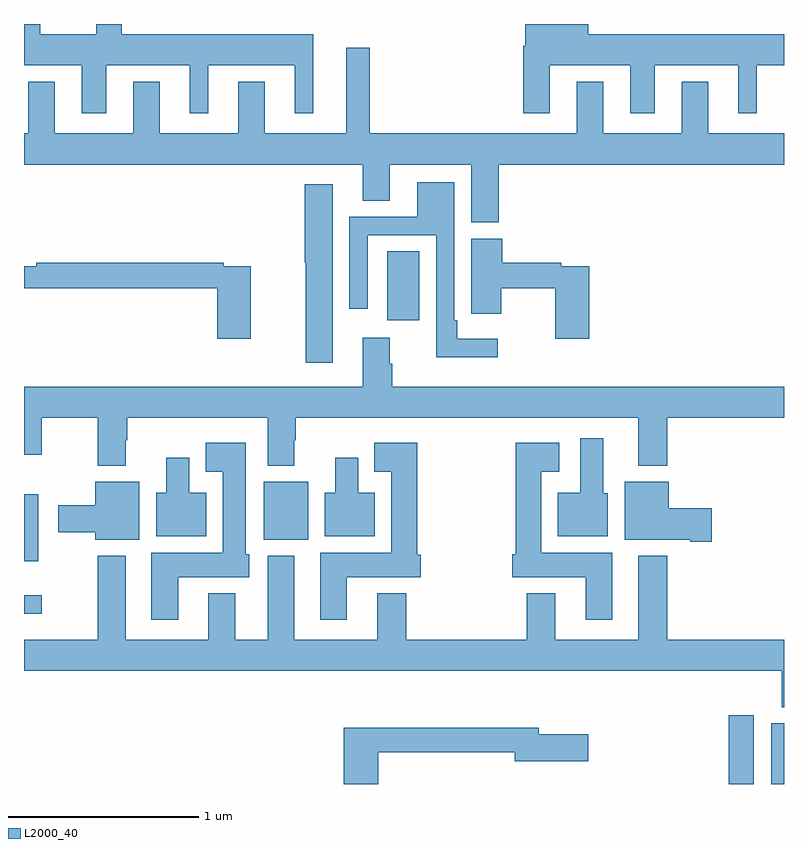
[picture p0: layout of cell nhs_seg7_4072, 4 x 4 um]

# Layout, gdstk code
import gdstk
lib = gdstk.Library(unit=1e-6, precision=1e-09)
def R(c, l, rs):  # rectangles x0, y0, x1, y1
    for r in rs: c.add(gdstk.rectangle(r[:2], r[2:], *l))
def P(c, l, *ps):  # polygons
    for p in ps: c.add(gdstk.Polygon(p, *l))
L2000_40 = (2000, 40)

nhs_seg7_4072 = lib.new_cell('nhs_seg7_4072')
R(nhs_seg7_4072, L2000_40, [(372.71,1020,372.841,1020.361), (372.932,1020,373,1020.319), (369,1020.896,369.094,1020.993), (369,1021.172,369.076,1021.525), (370.262,1021.286,370.495,1021.591), (370.913,1022.442,371.08,1022.804)])
P(nhs_seg7_4072, L2000_40, [(371.767,1023.782),(372.191,1023.782),(372.191,1023.531),(372.319,1023.531),(372.319,1023.782),(372.758,1023.782),(372.758,1023.531),(372.856,1023.531),(372.856,1023.782),(373,1023.782),(373,1023.946),(371.971,1023.946),(371.971,1024),(371.639,1024),(371.639,1023.886),(371.627,1023.886),(371.627,1023.531),(371.767,1023.531)],
  [(369.433,1023.782),(369.872,1023.782),(369.872,1023.531),(369.97,1023.531),(369.97,1023.782),(370.424,1023.782),(370.424,1023.531),(370.522,1023.531),(370.522,1023.946),(369.515,1023.946),(369.515,1024),(369.38,1024),(369.38,1023.946),(369.085,1023.946),(369.085,1024),(369,1024),(369,1023.782),(369.305,1023.782),(369.305,1023.531),(369.433,1023.531)],
  [(371.498,1023.26),(373,1023.26),(373,1023.424),(372.601,1023.424),(372.601,1023.697),(372.461,1023.697),(372.461,1023.424),(372.049,1023.424),(372.049,1023.697),(371.909,1023.697),(371.909,1023.424),(370.819,1023.424),(370.819,1023.874),(370.697,1023.874),(370.697,1023.424),(370.267,1023.424),(370.267,1023.697),(370.127,1023.697),(370.127,1023.424),(369.715,1023.424),(369.715,1023.697),(369.575,1023.697),(369.575,1023.424),(369.163,1023.424),(369.163,1023.697),(369.023,1023.697),(369.023,1023.424),(369,1023.424),(369,1023.26),(370.784,1023.26),(370.784,1023.07),(370.924,1023.07),(370.924,1023.26),(371.354,1023.26),(371.354,1022.956),(371.498,1022.956)],
  [(371.494,1022.344),(371.281,1022.344),(371.281,1022.44),(371.265,1022.44),(371.265,1023.166),(371.069,1023.166),(371.069,1022.985),(370.713,1022.985),(370.713,1022.502),(370.809,1022.502),(370.809,1022.889),(371.169,1022.889),(371.169,1022.246),(371.494,1022.246)],
  [(370.624,1023.157),(370.478,1023.157),(370.478,1022.744),(370.483,1022.744),(370.483,1022.217),(370.624,1022.217)],
  [(371.975,1022.724),(371.828,1022.724),(371.828,1022.744),(371.516,1022.744),(371.516,1022.871),(371.354,1022.871),(371.354,1022.587),(371.355,1022.587),(371.355,1022.475),(371.511,1022.475),(371.511,1022.608),(371.797,1022.608),(371.797,1022.343),(371.975,1022.343)],
  [(370.194,1022.724),(370.052,1022.724),(370.052,1022.744),(369.064,1022.744),(369.064,1022.725),(369,1022.725),(369,1022.616),(369.001,1022.616),(369.001,1022.608),(370.016,1022.608),(370.016,1022.343),(370.194,1022.343)],
  [(369.535,1021.808),(369.543,1021.808),(369.543,1021.928),(370.283,1021.928),(370.283,1021.676),(370.423,1021.676),(370.423,1021.808),(370.431,1021.808),(370.431,1021.928),(372.233,1021.928),(372.233,1021.676),(372.386,1021.676),(372.386,1021.928),(373,1021.928),(373,1022.092),(370.937,1022.092),(370.937,1022.213),(370.924,1022.213),(370.924,1022.35),(370.784,1022.35),(370.784,1022.092),(369,1022.092),(369,1021.734),(369.093,1021.734),(369.093,1021.928),(369.388,1021.928),(369.388,1021.676),(369.535,1021.676)],
  [(372.073,1021.53),(372.049,1021.53),(372.049,1021.819),(371.927,1021.819),(371.927,1021.534),(371.81,1021.534),(371.81,1021.304),(372.073,1021.304)],
  [(370.699,1021.088),(371.087,1021.088),(371.087,1021.206),(371.069,1021.206),(371.069,1021.795),(370.844,1021.795),(370.844,1021.643),(370.934,1021.643),(370.934,1021.216),(370.559,1021.216),(370.559,1020.864),(370.699,1020.864)],
  [(369.811,1021.088),(370.186,1021.088),(370.186,1021.209),(370.168,1021.209),(370.168,1021.795),(369.956,1021.795),(369.956,1021.643),(370.046,1021.643),(370.046,1021.216),(369.671,1021.216),(369.671,1020.864),(369.811,1020.864)],
  [(372.097,1021.216),(371.722,1021.216),(371.722,1021.643),(371.818,1021.643),(371.818,1021.795),(371.588,1021.795),(371.588,1021.209),(371.57,1021.209),(371.57,1021.088),(371.957,1021.088),(371.957,1020.864),(372.097,1020.864)],
  [(370.846,1021.534),(370.759,1021.534),(370.759,1021.717),(370.637,1021.717),(370.637,1021.534),(370.583,1021.534),(370.583,1021.304),(370.846,1021.304)],
  [(369.958,1021.534),(369.871,1021.534),(369.871,1021.717),(369.749,1021.717),(369.749,1021.534),(369.695,1021.534),(369.695,1021.304),(369.958,1021.304)],
  [(372.619,1021.452),(372.394,1021.452),(372.394,1021.591),(372.161,1021.591),(372.161,1021.286),(372.506,1021.286),(372.506,1021.274),(372.619,1021.274)],
  [(369.607,1021.591),(369.374,1021.591),(369.374,1021.467),(369.18,1021.467),(369.18,1021.325),(369.374,1021.325),(369.374,1021.286),(369.607,1021.286)],
  [(373,1020.76),(372.386,1020.76),(372.386,1021.201),(372.233,1021.201),(372.233,1020.76),(371.797,1020.76),(371.797,1021.003),(371.645,1021.003),(371.645,1020.76),(371.012,1020.76),(371.012,1021.003),(370.859,1021.003),(370.859,1020.76),(370.423,1020.76),(370.423,1021.201),(370.283,1021.201),(370.283,1020.76),(370.111,1020.76),(370.111,1021.003),(369.971,1021.003),(369.971,1020.76),(369.535,1020.76),(369.535,1021.201),(369.388,1021.201),(369.388,1020.76),(369,1020.76),(369,1020.596),(372.989,1020.596),(372.989,1020.404),(373,1020.404)],
  [(370.865,1020.166),(371.582,1020.166),(371.582,1020.119),(371.971,1020.119),(371.971,1020.261),(371.71,1020.261),(371.71,1020.295),(370.682,1020.295),(370.682,1020),(370.865,1020)])

lib.write_gds('nhs_seg7_4072.gds')
